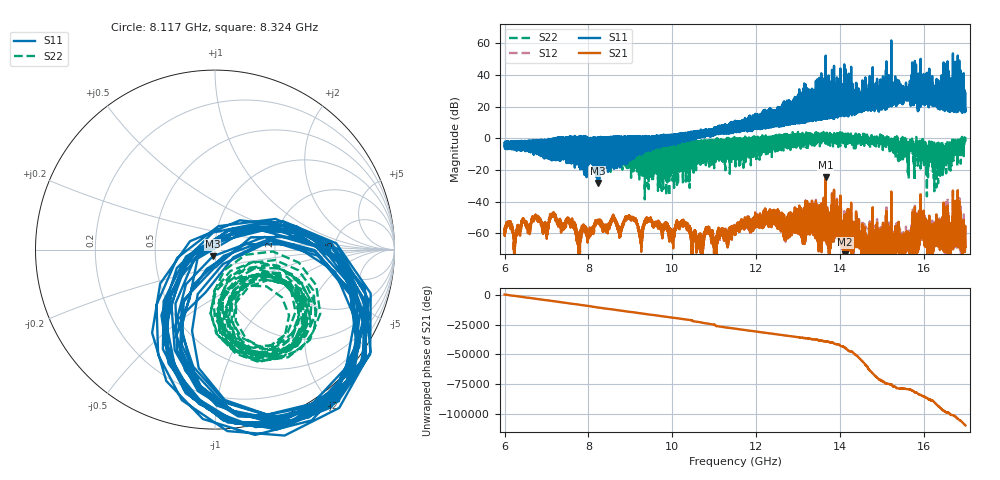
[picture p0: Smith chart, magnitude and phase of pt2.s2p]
#  HZ  S  RI  R  50.00
! Rohde & Schwarz Vector Network Analyzer
! Rohde-Schwarz,ZNA67-2Port,1332450062101215,3.01
! Created: UTC 10/26/2026, 3:49:38 PM
! freq[Hz]  re:S11  im:S11  re:S21  im:S21  re:S12  im:S12  re:S22  im:S22
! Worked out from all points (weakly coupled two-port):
!   11001 points, 6 GHz to 17 GHz, reference 50 ohm
!   highest |S21| = -24.60 dB at 13.66 GHz (marker M1); lowest = -81.0 dB at 14.12 GHz (marker M2)
!   lowest |S11| = -28.1 dB at 8.224 GHz (marker M3), VSWR 1.08, Z = 48.7 - j3.64 ohm
!   |S11| at or under -10 dB: 7.721851 GHz to 7.724065 GHz (2.214 MHz wide, 0.0287 % of centre); 7.779901 GHz to 7.782097 GHz (2.196 MHz wide, 0.0282 % of centre); 7.849894 GHz to 7.852174 GHz (2.28 MHz wide, 0.029 % of centre) (the widest 3 of 203)
!   |S22| runs from -38.5 to 4.3 dB; largest |S21 - S12| = 0.027
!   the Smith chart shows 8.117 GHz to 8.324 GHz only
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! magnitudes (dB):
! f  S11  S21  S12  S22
! 6 GHz  -4.9  -57.1  -57.3  -5.0
! 6.242 GHz  -6.5  -65.6  -65.8  -5.4
! 7.151 GHz  -11.6  -48.2  -48.0  -4.4
! 7.834 GHz  1.2  -56.9  -56.9  -2.4
! 8.224 GHz  -28.1  -53.4  -53.4  -10.3
! 9.667 GHz  -1.1  -54.7  -54.6  -4.9
! 10.28 GHz  -1.9  -53.9  -53.7  -3.9
! 10.71 GHz  1.4  -74.0  -73.7  -2.9
! 10.85 GHz  4.0  -57.0  -56.8  -2.1
! 11.03 GHz  2.6  -78.9  -75.8  -2.0
! 11.5 GHz  4.7  -61.1  -61.4  -1.4
! 13.33 GHz  12.9  -59.1  -59.3  -1.2
! 13.66 GHz  52.3  -24.6  -25.0  -1.3
! 13.93 GHz  14.2  -59.8  -60.0  1.3
! 14.12 GHz  15.5  -81.0  -75.0  1.3
! 14.41 GHz  16.6  -65.0  -64.2  1.5
! 14.65 GHz  25.5  -70.9  -68.7  -0.8
! 15.17 GHz  24.8  -65.8  -68.4  -0.5
! 15.95 GHz  21.1  -62.4  -64.1  -3.2
! 16.15 GHz  21.1  -73.3  -72.1  -2.6
! 16.77 GHz  18.1  -67.8  -66.4  -3.0
! 17 GHz  18.2  -69.0  -67.6  0.7
